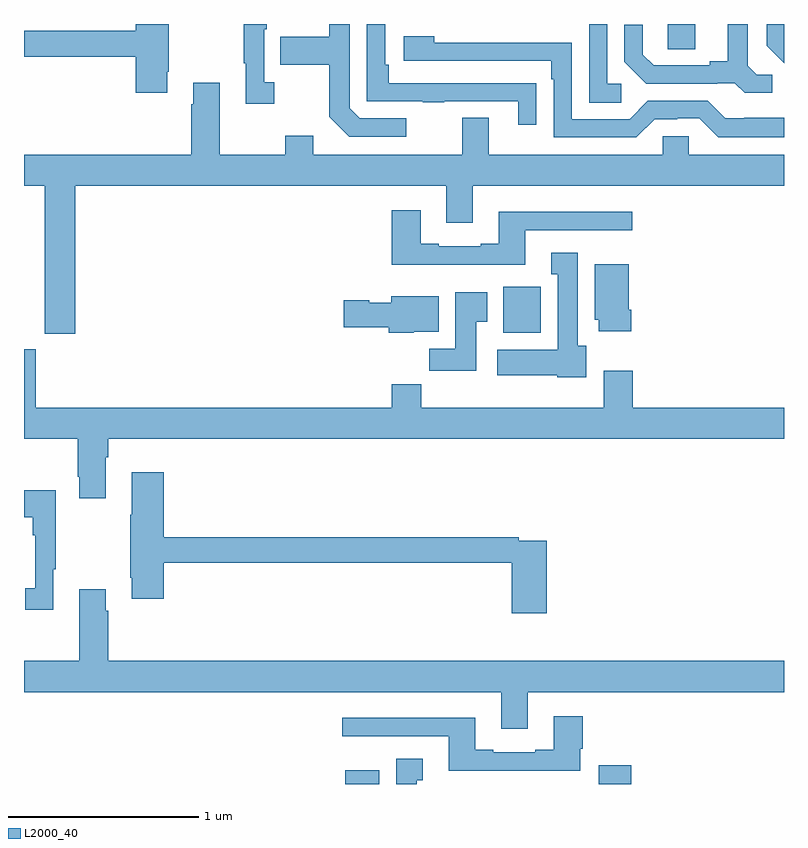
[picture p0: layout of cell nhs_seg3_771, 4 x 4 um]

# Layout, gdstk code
import gdstk
lib = gdstk.Library(unit=1e-6, precision=1e-09)
def R(c, l, rs):  # rectangles x0, y0, x1, y1
    for r in rs: c.add(gdstk.rectangle(r[:2], r[2:], *l))
def P(c, l, *ps):  # polygons
    for p in ps: c.add(gdstk.Polygon(p, *l))
L2000_40 = (2000, 40)

nhs_seg3_771 = lib.new_cell('nhs_seg3_771')
R(nhs_seg3_771, L2000_40, [(150.692,732.4,150.871,732.472), (152.024,732.4,152.195,732.499), (151.523,734.774,151.72,735.016), (152.388,736.267,152.533,736.4)])
P(nhs_seg3_771, L2000_40, [(151.012,735.903),(150.768,735.903),(150.714,735.957),(150.714,736.4),(150.606,736.4),(150.606,736.333),(150.349,736.333),(150.349,736.186),(150.606,736.186),(150.606,735.913),(150.711,735.807),(151.012,735.807)],
  [(153,736.4),(152.91,736.4),(152.91,736.286),(152.983,736.213),(152.982,736.212),(153,736.194)],
  [(152.143,736.086),(152.07,736.086),(152.07,736.4),(151.974,736.4),(151.974,735.985),(152.143,735.985)],
  [(149.755,736.15),(149.763,736.15),(149.763,736.4),(149.588,736.4),(149.588,736.364),(149,736.364),(149,736.228),(149.588,736.228),(149.588,736.038),(149.755,736.038)],
  [(151.697,736.088),(151.595,736.088),(151.595,736.089),(150.92,736.089),(150.92,736.186),(150.9,736.186),(150.9,736.4),(150.804,736.4),(150.804,735.993),(151.099,735.993),(151.099,735.988),(151.211,735.988),(151.211,735.993),(151.601,735.993),(151.601,735.87),(151.697,735.87)],
  [(152.938,736.134),(152.856,736.134),(152.809,736.181),(152.809,736.4),(152.705,736.4),(152.705,736.205),(152.609,736.205),(152.609,736.182),(152.314,736.182),(152.257,736.239),(152.257,736.396),(152.16,736.396),(152.16,736.202),(152.276,736.086),(152.648,736.086),(152.648,736.089),(152.742,736.089),(152.794,736.037),(152.938,736.037)],
  [(150.316,736.094),(150.264,736.094),(150.264,736.373),(150.277,736.373),(150.277,736.4),(150.156,736.4),(150.156,736.193),(150.167,736.193),(150.167,735.981),(150.316,735.981)],
  [(153,735.907),(152.791,735.907),(152.791,735.903),(152.691,735.903),(152.598,735.996),(152.283,735.996),(152.187,735.9),(151.884,735.9),(151.884,736.302),(151.16,736.302),(151.16,736.336),(150.999,736.336),(150.999,736.206),(151.775,736.206),(151.775,736.109),(151.788,736.109),(151.788,735.804),(152.223,735.804),(152.319,735.9),(152.438,735.9),(152.438,735.903),(152.553,735.903),(152.653,735.803),(153,735.803)],
  [(149,735.548),(149.11,735.548),(149.11,734.769),(149.27,734.769),(149.27,735.548),(151.223,735.548),(151.223,735.354),(151.363,735.354),(151.363,735.548),(153,735.548),(153,735.712),(152.499,735.712),(152.499,735.81),(152.361,735.81),(152.361,735.712),(151.447,735.712),(151.447,735.907),(151.307,735.907),(151.307,735.712),(150.523,735.712),(150.523,735.811),(150.376,735.811),(150.376,735.712),(150.031,735.712),(150.031,736.09),(149.891,736.09),(149.891,735.977),(149.879,735.977),(149.879,735.712),(149,735.712)],
  [(151.639,735.315),(152.2,735.315),(152.2,735.412),(151.499,735.412),(151.499,735.244),(151.403,735.244),(151.403,735.231),(151.183,735.231),(151.183,735.244),(151.087,735.244),(151.087,735.421),(150.935,735.421),(150.935,735.134),(151.639,735.134)],
  [(151.96,734.706),(151.915,734.706),(151.915,735.196),(151.775,735.196),(151.775,735.083),(151.808,735.083),(151.808,734.686),(151.491,734.686),(151.491,734.552),(151.806,734.552),(151.806,734.54),(151.96,734.54)],
  [(152.195,734.896),(152.182,734.896),(152.182,735.136),(152.003,735.136),(152.003,734.844),(152.024,734.844),(152.024,734.784),(152.195,734.784)],
  [(151.381,734.833),(151.438,734.833),(151.438,734.989),(151.271,734.989),(151.271,734.692),(151.132,734.692),(151.132,734.574),(151.381,734.574)],
  [(151.05,734.78),(151.183,734.78),(151.183,734.968),(150.932,734.968),(150.932,734.932),(150.816,734.932),(150.816,734.945),(150.684,734.945),(150.684,734.803),(150.92,734.803),(150.92,734.774),(151.05,734.774)],
  [(149.431,734.12),(149.444,734.12),(149.444,734.216),(153,734.216),(153,734.38),(152.204,734.38),(152.204,734.575),(152.051,734.575),(152.051,734.38),(151.091,734.38),(151.091,734.504),(150.935,734.504),(150.935,734.38),(149.062,734.38),(149.062,734.689),(149,734.689),(149,734.216),(149.284,734.216),(149.284,734.017),(149.291,734.017),(149.291,733.905),(149.431,733.905)],
  [(151.751,733.68),(151.604,733.68),(151.604,733.7),(149.735,733.7),(149.735,734.041),(149.567,734.041),(149.567,733.817),(149.56,733.817),(149.56,733.486),(149.567,733.486),(149.567,733.374),(149.735,733.374),(149.735,733.564),(151.568,733.564),(151.568,733.299),(151.751,733.299)],
  [(149.155,733.529),(149.167,733.529),(149.167,733.945),(149,733.945),(149,733.805),(149.046,733.805),(149.046,733.709),(149.058,733.709),(149.058,733.43),(149.007,733.43),(149.007,733.317),(149.155,733.317)],
  [(151.651,732.884),(153,732.884),(153,733.048),(149.444,733.048),(149.444,733.313),(149.431,733.313),(149.431,733.426),(149.291,733.426),(149.291,733.048),(149,733.048),(149,732.884),(151.511,732.884),(151.511,732.69),(151.651,732.69)],
  [(151.927,732.586),(151.94,732.586),(151.94,732.757),(151.787,732.757),(151.787,732.58),(151.691,732.58),(151.691,732.567),(151.471,732.567),(151.471,732.58),(151.375,732.58),(151.375,732.748),(150.675,732.748),(150.675,732.651),(151.235,732.651),(151.235,732.47),(151.927,732.47)],
  [(151.066,732.419),(151.099,732.419),(151.099,732.532),(150.959,732.532),(150.959,732.4),(151.066,732.4)])

lib.write_gds('nhs_seg3_771.gds')
